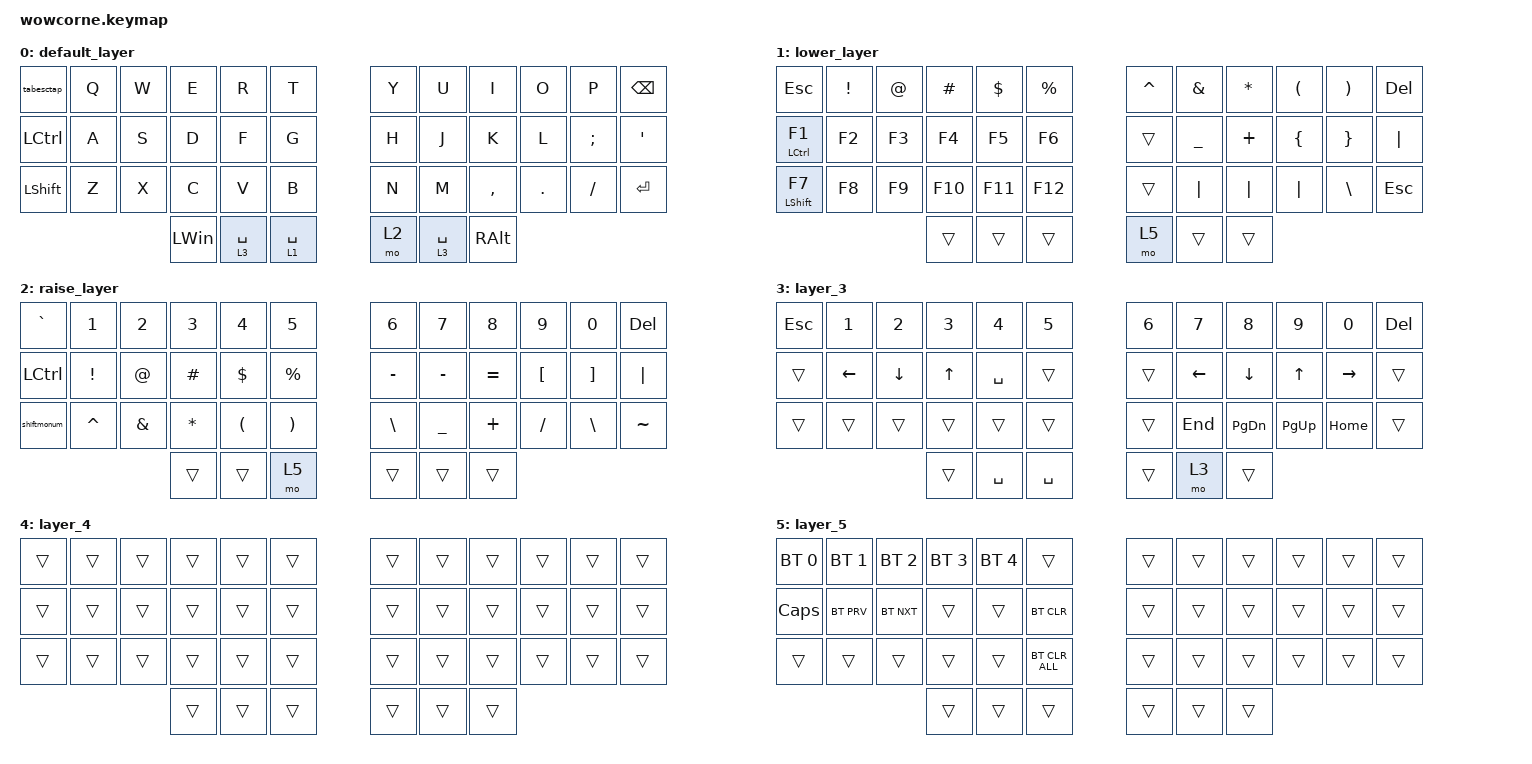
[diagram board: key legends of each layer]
/*
 * Copyright (c) 2020 The ZMK Contributors
 *
 * SPDX-License-Identifier: MIT
 */

#include <dt-bindings/zmk/mouse.h>
#include <behaviors/mouse_keys.dtsi>
#include <behaviors.dtsi>
#include <dt-bindings/zmk/bt.h>
#include <dt-bindings/zmk/keys.h>

#define WIN 0
#define MAC 1
#define NAV 2
#define SYM 3
#define FN 4
#define CFG 5
#define MSE 6

//universial keycodes

#define L_SYM &mo SYM
#define L_FN  &mo FN
#define L_CFG &mo CFG
#define L_NAV &mo NAV
#define L_MSE &mo MSE
#define TAB_C &kp LC(TAB)
#define LT_SPACE &lt MSE SPACE

// winos keycodes

#define WHF &hm LCTRL F
#define WHD &hm LALT D
#define WHJ &hm RCTRL J
#define WHK &hm RALT K
#define LANGW &mt RSHFT RALT
#define ESCW &mt LGUI ESC

// macos keycodes

#define MHF &hm LGUI F
#define MHD &hm LALT D
#define MHJ &hm RGUI J
#define MHK &hm RALT K
#define OBS &hm LA(LSFT) A
#define OBS_C &hm LC(LA(LSFT)) A
#define LANGM &mt RALT LC(SPACE)
#define ESCM &mt LCTRL ESC

&mt { tapping-term-ms = <125>; };

/ {
    behaviors {
        hm: homerow_mods {
            compatible = "zmk,behavior-hold-tap";
            #binding-cells = <2>;
            tapping-term-ms = <150>;
            quick-tap-ms = <0>;
            flavor = "tap-preferred";
            bindings = <&kp>, <&kp>;
        };
    };

    combos { compatible = "zmk,combos"; };

    behaviors {
        new_behavior: new_behavior {
            compatible = "zmk,behavior-mouse-key-press";
            label = "NEW_BEHAVIOR";
            #binding-cells = <1>;
        };

        tabesctap: tabesctap {
            compatible = "zmk,behavior-tap-dance";
            label = "TABESCTAP";
            #binding-cells = <0>;
            bindings = <&kp TAB>, <&kp ESC>;

            tapping-term-ms = <170>;
        };

        spacelayer: spacelayer {
            compatible = "zmk,behavior-hold-tap";
            label = "SPACELAYER";
            bindings = <&mo>, <&kp>;

            #binding-cells = <2>;
            tapping-term-ms = <400>;
            flavor = "tap-preferred";
        };

        shiftmonum: shiftmonum {
            compatible = "zmk,behavior-tap-dance";
            label = "SHIFTMONUM";
            #binding-cells = <0>;
            bindings = <&kp LEFT_SHIFT>, <&none>;

            tapping-term-ms = <250>;
        };
    };

    keymap {
        compatible = "zmk,keymap";

        default_layer {
            // -----------------------------------------------------------------------------------------
            // |  ESC |  Q  |  W  |  E  |  R  |  T  |   |  Y  |  U   |  I  |  O  |  P  | BSPC |
            // | TAB  |  A  |  S  |  D  |  F  |  G  |   |  H  |  J   |  K  |  L  |  ;  | ENTER|
            // | LCTRL|  Z  |  X  |  C  |  V  |  B  |   |  N  |  M   |  ,  |  .  |  /  | RSHFT|
            //                    |LCTRL| LALT| SP |   | SPACE | RSE  | RALT |

            bindings = <
&tabesctap  &kp Q  &kp W  &kp E         &kp R                &kp T          &kp Y  &kp U        &kp I          &kp O    &kp P     &kp BSPC
&kp LCTRL   &kp A  &kp S  &kp D         &kp F                &kp G          &kp H  &kp J        &kp K          &kp L    &kp SEMI  &kp SQT
&kp LSHFT   &kp Z  &kp X  &kp C         &kp V                &kp B          &kp N  &kp M        &kp COMMA      &kp DOT  &kp FSLH  &kp ENTER
                          &kp LEFT_WIN  &spacelayer 3 SPACE  &lt 1 SPACE    &mo 2  &lt 3 SPACE  &kp RIGHT_ALT
            >;
        };

        lower_layer {
            // -----------------------------------------------------------------------------------------
            // |  TAB |  1  |  2  |  3  |  4  |  5  |   |  6  |  7  |  8  |  9  |  0  | BSPC |
            // | BTCLR| BT1 | BT2 | BT3 | BT4 | BT5 |   | LFT | DWN |  UP | RGT |     |      |
            // | SHFT |     |     |     |     |     |   |     |     |     |     |     |      |
            //                    | GUI |     | SPC |   | ENT |     | ALT |

            bindings = <
&kp ESCAPE           &kp EXCLAMATION  &kp AT  &kp HASH  &kp DOLLAR  &kp PERCENT    &kp LCTRL  &kp AMPERSAND  &kp ASTERISK  &kp LEFT_PARENTHESIS  &kp RIGHT_PARENTHESIS  &kp DEL
&mt LEFT_CONTROL F1  &kp F2           &kp F3  &kp F4    &kp F5      &kp F6         &trans     &kp UNDER      &kp PLUS      &kp LEFT_BRACE        &kp RIGHT_BRACE        &kp PIPE
&mt LSHFT F7         &kp F8           &kp F9  &kp F10   &kp F11     &kp F12        &trans     &kp PIPE       &kp PIPE      &kp PIPE              &kp BACKSLASH          &kp ESCAPE
                                              &trans    &trans      &trans         &mo 5      &trans         &trans
            >;
        };

        raise_layer {
            // -----------------------------------------------------------------------------------------
            // |  TAB |  !  |  @  |  #  |  $  |  %  |   |  ^  |  &  |  *  |  (  |  )  | BSPC |
            // | CTRL |     |     |     |     |     |   |  -  |  =  |  [  |  ]  |  \  |  `   |
            // | SHFT |     |     |     |     |     |   |  _  |  +  |  {  |  }  | "|" |  ~   |
            //                    | GUI |     | SPC |   | ENT |     | ALT |

            bindings = <
&kp GRAVE    &kp NUMBER_1  &kp NUMBER_2  &kp NUMBER_3  &kp NUMBER_4          &kp N5                   &kp NUMBER_6   &kp N7     &kp N8     &kp N9            &kp N0             &kp BSPC
&kp LCTRL    &kp EXCL      &kp AT        &kp HASH      &kp DOLLAR            &kp PERCENT              &kp MINUS      &kp MINUS  &kp EQUAL  &kp LEFT_BRACKET  &kp RIGHT_BRACKET  &kp PIPE
&shiftmonum  &kp CARET     &kp AMPS      &kp ASTERISK  &kp LEFT_PARENTHESIS  &kp RIGHT_PARENTHESIS    &kp BACKSLASH  &kp UNDER  &kp PLUS   &kp SLASH         &kp BACKSLASH      &kp TILDE
                                         &trans        &trans                &mo 5                    &trans         &trans     &trans
            >;
        };

        layer_3 {
            bindings = <
&kp ESC  &kp N1    &kp N2    &kp N3  &kp N4     &kp N5       &kp N6  &kp N7    &kp N8         &kp N9     &kp N0     &kp DEL
&trans   &kp LEFT  &kp DOWN  &kp UP  &kp SPACE  &trans       &trans  &kp LEFT  &kp DOWN       &kp UP     &kp RIGHT  &trans
&trans   &trans    &trans    &trans  &trans     &trans       &trans  &kp END   &kp PAGE_DOWN  &kp PG_UP  &kp HOME   &trans
                             &trans  &kp SPACE  &kp SPACE    &trans  &mo 3     &trans
            >;
        };

        layer_4 {
            bindings = <
&trans  &trans  &trans  &trans  &trans  &trans    &trans  &trans  &trans  &trans  &trans  &trans
&trans  &trans  &trans  &trans  &trans  &trans    &trans  &trans  &trans  &trans  &trans  &trans
&trans  &trans  &trans  &trans  &trans  &trans    &trans  &trans  &trans  &trans  &trans  &trans
                        &trans  &trans  &trans    &trans  &trans  &trans
            >;
        };

        layer_5 {
            bindings = <
&bt BT_SEL 0  &bt BT_SEL 1  &bt BT_SEL 2  &bt BT_SEL 3  &bt BT_SEL 4  &trans            &trans  &trans  &trans  &trans  &trans  &trans
&kp CLCK      &bt BT_PRV    &bt BT_NXT    &trans        &trans        &bt BT_CLR        &trans  &trans  &trans  &trans  &trans  &trans
&trans        &trans        &trans        &trans        &trans        &bt BT_CLR_ALL    &trans  &trans  &trans  &trans  &trans  &trans
                                          &trans        &trans        &trans            &trans  &trans  &trans
            >;
        };
    };
};
/*
 * Copyright (c) 2020 The ZMK Contributors
 *
 * SPDX-License-Identifier: MIT
 */

#include <dt-bindings/zmk/mouse.h>
#include <behaviors/mouse_keys.dtsi>
#include <behaviors.dtsi>
#include <dt-bindings/zmk/bt.h>
#include <dt-bindings/zmk/keys.h>

#define WIN 0
#define MAC 1
#define NAV 2
#define SYM 3
#define FN 4
#define CFG 5
#define MSE 6

//universial keycodes

#define L_SYM &mo SYM
#define L_FN  &mo FN
#define L_CFG &mo CFG
#define L_NAV &mo NAV
#define L_MSE &mo MSE
#define TAB_C &kp LC(TAB)
#define LT_SPACE &lt MSE SPACE

// winos keycodes

#define WHF &hm LCTRL F
#define WHD &hm LALT D
#define WHJ &hm RCTRL J
#define WHK &hm RALT K
#define LANGW &mt RSHFT RALT
#define ESCW &mt LGUI ESC

// macos keycodes

#define MHF &hm LGUI F
#define MHD &hm LALT D
#define MHJ &hm RGUI J
#define MHK &hm RALT K
#define OBS &hm LA(LSFT) A
#define OBS_C &hm LC(LA(LSFT)) A
#define LANGM &mt RALT LC(SPACE)
#define ESCM &mt LCTRL ESC

&mt { tapping-term-ms = <125>; };

/ {
    behaviors {
        hm: homerow_mods {
            compatible = "zmk,behavior-hold-tap";
            #binding-cells = <2>;
            tapping-term-ms = <150>;
            quick-tap-ms = <0>;
            flavor = "tap-preferred";
            bindings = <&kp>, <&kp>;
        };
    };

    combos { compatible = "zmk,combos"; };

    behaviors {
        new_behavior: new_behavior {
            compatible = "zmk,behavior-mouse-key-press";
            label = "NEW_BEHAVIOR";
            #binding-cells = <1>;
        };

        tabesctap: tabesctap {
            compatible = "zmk,behavior-tap-dance";
            label = "TABESCTAP";
            #binding-cells = <0>;
            bindings = <&kp TAB>, <&kp ESC>;

            tapping-term-ms = <170>;
        };

        spacelayer: spacelayer {
            compatible = "zmk,behavior-hold-tap";
            label = "SPACELAYER";
            bindings = <&mo>, <&kp>;

            #binding-cells = <2>;
            tapping-term-ms = <400>;
            flavor = "tap-preferred";
        };

        shiftmonum: shiftmonum {
            compatible = "zmk,behavior-tap-dance";
            label = "SHIFTMONUM";
            #binding-cells = <0>;
            bindings = <&kp LEFT_SHIFT>, <&none>;

            tapping-term-ms = <250>;
        };
    };

    keymap {
        compatible = "zmk,keymap";

        default_layer {
            // -----------------------------------------------------------------------------------------
            // |  ESC |  Q  |  W  |  E  |  R  |  T  |   |  Y  |  U   |  I  |  O  |  P  | BSPC |
            // | TAB  |  A  |  S  |  D  |  F  |  G  |   |  H  |  J   |  K  |  L  |  ;  | ENTER|
            // | LCTRL|  Z  |  X  |  C  |  V  |  B  |   |  N  |  M   |  ,  |  .  |  /  | RSHFT|
            //                    |LCTRL| LALT| SP |   | SPACE | RSE  | RALT |

            bindings = <
&tabesctap  &kp Q  &kp W  &kp E         &kp R                &kp T          &kp Y  &kp U        &kp I          &kp O    &kp P     &kp BSPC
&kp LCTRL   &kp A  &kp S  &kp D         &kp F                &kp G          &kp H  &kp J        &kp K          &kp L    &kp SEMI  &kp SQT
&kp LSHFT   &kp Z  &kp X  &kp C         &kp V                &kp B          &kp N  &kp M        &kp COMMA      &kp DOT  &kp FSLH  &kp ENTER
                          &kp LEFT_WIN  &spacelayer 3 SPACE  &lt 1 SPACE    &mo 2  &lt 3 SPACE  &kp RIGHT_ALT
            >;
        };

        lower_layer {
            // -----------------------------------------------------------------------------------------
            // |  TAB |  1  |  2  |  3  |  4  |  5  |   |  6  |  7  |  8  |  9  |  0  | BSPC |
            // | BTCLR| BT1 | BT2 | BT3 | BT4 | BT5 |   | LFT | DWN |  UP | RGT |     |      |
            // | SHFT |     |     |     |     |     |   |     |     |     |     |     |      |
            //                    | GUI |     | SPC |   | ENT |     | ALT |

            bindings = <
&kp ESCAPE           &kp EXCLAMATION  &kp AT  &kp HASH  &kp DOLLAR  &kp PERCENT    &kp LCTRL  &kp AMPERSAND  &kp ASTERISK  &kp LEFT_PARENTHESIS  &kp RIGHT_PARENTHESIS  &kp DEL
&mt LEFT_CONTROL F1  &kp F2           &kp F3  &kp F4    &kp F5      &kp F6         &trans     &kp UNDER      &kp PLUS      &kp LEFT_BRACE        &kp RIGHT_BRACE        &kp PIPE
&mt LSHFT F7         &kp F8           &kp F9  &kp F10   &kp F11     &kp F12        &trans     &kp PIPE       &kp PIPE      &kp PIPE              &kp BACKSLASH          &kp ESCAPE
                                              &trans    &trans      &trans         &mo 5      &trans         &trans
            >;
        };

        raise_layer {
            // -----------------------------------------------------------------------------------------
            // |  TAB |  !  |  @  |  #  |  $  |  %  |   |  ^  |  &  |  *  |  (  |  )  | BSPC |
            // | CTRL |     |     |     |     |     |   |  -  |  =  |  [  |  ]  |  \  |  `   |
            // | SHFT |     |     |     |     |     |   |  _  |  +  |  {  |  }  | "|" |  ~   |
            //                    | GUI |     | SPC |   | ENT |     | ALT |

            bindings = <
&kp GRAVE    &kp NUMBER_1  &kp NUMBER_2  &kp NUMBER_3  &kp NUMBER_4          &kp N5                   &kp NUMBER_6   &kp N7     &kp N8     &kp N9            &kp N0             &kp BSPC
&kp LCTRL    &kp EXCL      &kp AT        &kp HASH      &kp DOLLAR            &kp PERCENT              &kp MINUS      &kp MINUS  &kp EQUAL  &kp LEFT_BRACKET  &kp RIGHT_BRACKET  &kp PIPE
&shiftmonum  &kp CARET     &kp AMPS      &kp ASTERISK  &kp LEFT_PARENTHESIS  &kp RIGHT_PARENTHESIS    &kp BACKSLASH  &kp UNDER  &kp PLUS   &kp SLASH         &kp BACKSLASH      &kp TILDE
                                         &trans        &trans                &mo 5                    &trans         &trans     &trans
            >;
        };

        layer_3 {
            bindings = <
&kp ESC  &kp N1    &kp N2    &kp N3  &kp N4     &kp N5       &kp N6  &kp N7    &kp N8         &kp N9     &kp N0     &kp DEL
&trans   &kp LEFT  &kp DOWN  &kp UP  &kp SPACE  &trans       &trans  &kp LEFT  &kp DOWN       &kp UP     &kp RIGHT  &trans
&trans   &trans    &trans    &trans  &trans     &trans       &trans  &kp END   &kp PAGE_DOWN  &kp PG_UP  &kp HOME   &trans
                             &trans  &kp SPACE  &kp SPACE    &trans  &mo 3     &trans
            >;
        };

        layer_4 {
            bindings = <
&trans  &trans  &trans  &trans  &trans  &trans    &trans  &trans  &trans  &trans  &trans  &trans
&trans  &trans  &trans  &trans  &trans  &trans    &trans  &trans  &trans  &trans  &trans  &trans
&trans  &trans  &trans  &trans  &trans  &trans    &trans  &trans  &trans  &trans  &trans  &trans
                        &trans  &trans  &trans    &trans  &trans  &trans
            >;
        };

        layer_5 {
            bindings = <
&bt BT_SEL 0  &bt BT_SEL 1  &bt BT_SEL 2  &bt BT_SEL 3  &bt BT_SEL 4  &trans            &trans  &trans  &trans  &trans  &trans  &trans
&kp CLCK      &bt BT_PRV    &bt BT_NXT    &trans        &trans        &bt BT_CLR        &trans  &trans  &trans  &trans  &trans  &trans
&trans        &trans        &trans        &trans        &trans        &bt BT_CLR_ALL    &trans  &trans  &trans  &trans  &trans  &trans
                                          &trans        &trans        &trans            &trans  &trans  &trans
            >;
        };
    };
};
/*
 * Copyright (c) 2020 The ZMK Contributors
 *
 * SPDX-License-Identifier: MIT
 */

#include <dt-bindings/zmk/mouse.h>
#include <behaviors/mouse_keys.dtsi>
#include <behaviors.dtsi>
#include <dt-bindings/zmk/bt.h>
#include <dt-bindings/zmk/keys.h>

#define WIN 0
#define MAC 1
#define NAV 2
#define SYM 3
#define FN 4
#define CFG 5
#define MSE 6

//universial keycodes

#define L_SYM &mo SYM
#define L_FN  &mo FN
#define L_CFG &mo CFG
#define L_NAV &mo NAV
#define L_MSE &mo MSE
#define TAB_C &kp LC(TAB)
#define LT_SPACE &lt MSE SPACE

// winos keycodes

#define WHF &hm LCTRL F
#define WHD &hm LALT D
#define WHJ &hm RCTRL J
#define WHK &hm RALT K
#define LANGW &mt RSHFT RALT
#define ESCW &mt LGUI ESC

// macos keycodes

#define MHF &hm LGUI F
#define MHD &hm LALT D
#define MHJ &hm RGUI J
#define MHK &hm RALT K
#define OBS &hm LA(LSFT) A
#define OBS_C &hm LC(LA(LSFT)) A
#define LANGM &mt RALT LC(SPACE)
#define ESCM &mt LCTRL ESC

&mt { tapping-term-ms = <125>; };

/ {
    behaviors {
        hm: homerow_mods {
            compatible = "zmk,behavior-hold-tap";
            #binding-cells = <2>;
            tapping-term-ms = <150>;
            quick-tap-ms = <0>;
            flavor = "tap-preferred";
            bindings = <&kp>, <&kp>;
        };
    };

    combos { compatible = "zmk,combos"; };

    behaviors {
        new_behavior: new_behavior {
            compatible = "zmk,behavior-mouse-key-press";
            label = "NEW_BEHAVIOR";
            #binding-cells = <1>;
        };

        tabesctap: tabesctap {
            compatible = "zmk,behavior-tap-dance";
            label = "TABESCTAP";
            #binding-cells = <0>;
            bindings = <&kp TAB>, <&kp ESC>;

            tapping-term-ms = <170>;
        };

        spacelayer: spacelayer {
            compatible = "zmk,behavior-hold-tap";
            label = "SPACELAYER";
            bindings = <&mo>, <&kp>;

            #binding-cells = <2>;
            tapping-term-ms = <400>;
            flavor = "tap-preferred";
        };

        shiftmonum: shiftmonum {
            compatible = "zmk,behavior-tap-dance";
            label = "SHIFTMONUM";
            #binding-cells = <0>;
            bindings = <&kp LEFT_SHIFT>, <&none>;

            tapping-term-ms = <250>;
        };
    };

    keymap {
        compatible = "zmk,keymap";

        default_layer {
            // -----------------------------------------------------------------------------------------
            // |  ESC |  Q  |  W  |  E  |  R  |  T  |   |  Y  |  U   |  I  |  O  |  P  | BSPC |
            // | TAB  |  A  |  S  |  D  |  F  |  G  |   |  H  |  J   |  K  |  L  |  ;  | ENTER|
            // | LCTRL|  Z  |  X  |  C  |  V  |  B  |   |  N  |  M   |  ,  |  .  |  /  | RSHFT|
            //                    |LCTRL| LALT| SP |   | SPACE | RSE  | RALT |

            bindings = <
&tabesctap  &kp Q  &kp W  &kp E         &kp R                &kp T          &kp Y  &kp U        &kp I          &kp O    &kp P     &kp BSPC
&kp LCTRL   &kp A  &kp S  &kp D         &kp F                &kp G          &kp H  &kp J        &kp K          &kp L    &kp SEMI  &kp SQT
&kp LSHFT   &kp Z  &kp X  &kp C         &kp V                &kp B          &kp N  &kp M        &kp COMMA      &kp DOT  &kp FSLH  &kp ENTER
                          &kp LEFT_WIN  &spacelayer 3 SPACE  &lt 1 SPACE    &mo 2  &lt 3 SPACE  &kp RIGHT_ALT
            >;
        };

        lower_layer {
            // -----------------------------------------------------------------------------------------
            // |  TAB |  1  |  2  |  3  |  4  |  5  |   |  6  |  7  |  8  |  9  |  0  | BSPC |
            // | BTCLR| BT1 | BT2 | BT3 | BT4 | BT5 |   | LFT | DWN |  UP | RGT |     |      |
            // | SHFT |     |     |     |     |     |   |     |     |     |     |     |      |
            //                    | GUI |     | SPC |   | ENT |     | ALT |

            bindings = <
&kp ESCAPE           &kp EXCLAMATION  &kp AT  &kp HASH  &kp DOLLAR  &kp PERCENT    &kp LCTRL  &kp AMPERSAND  &kp ASTERISK  &kp LEFT_PARENTHESIS  &kp RIGHT_PARENTHESIS  &kp DEL
&mt LEFT_CONTROL F1  &kp F2           &kp F3  &kp F4    &kp F5      &kp F6         &trans     &kp UNDER      &kp PLUS      &kp LEFT_BRACE        &kp RIGHT_BRACE        &kp PIPE
&mt LSHFT F7         &kp F8           &kp F9  &kp F10   &kp F11     &kp F12        &trans     &kp PIPE       &kp PIPE      &kp PIPE              &kp BACKSLASH          &kp ESCAPE
                                              &trans    &trans      &trans         &mo 5      &trans         &trans
            >;
        };

        raise_layer {
            // -----------------------------------------------------------------------------------------
            // |  TAB |  !  |  @  |  #  |  $  |  %  |   |  ^  |  &  |  *  |  (  |  )  | BSPC |
            // | CTRL |     |     |     |     |     |   |  -  |  =  |  [  |  ]  |  \  |  `   |
            // | SHFT |     |     |     |     |     |   |  _  |  +  |  {  |  }  | "|" |  ~   |
            //                    | GUI |     | SPC |   | ENT |     | ALT |

            bindings = <
&kp GRAVE    &kp NUMBER_1  &kp NUMBER_2  &kp NUMBER_3  &kp NUMBER_4          &kp N5                   &kp NUMBER_6   &kp N7     &kp N8     &kp N9            &kp N0             &kp BSPC
&kp LCTRL    &kp EXCL      &kp AT        &kp HASH      &kp DOLLAR            &kp PERCENT              &kp MINUS      &kp MINUS  &kp EQUAL  &kp LEFT_BRACKET  &kp RIGHT_BRACKET  &kp PIPE
&shiftmonum  &kp CARET     &kp AMPS      &kp ASTERISK  &kp LEFT_PARENTHESIS  &kp RIGHT_PARENTHESIS    &kp BACKSLASH  &kp UNDER  &kp PLUS   &kp SLASH         &kp BACKSLASH      &kp TILDE
                                         &trans        &trans                &mo 5                    &trans         &trans     &trans
            >;
        };

        layer_3 {
            bindings = <
&kp ESC  &kp N1    &kp N2    &kp N3  &kp N4     &kp N5       &kp N6  &kp N7    &kp N8         &kp N9     &kp N0     &kp DEL
&trans   &kp LEFT  &kp DOWN  &kp UP  &kp SPACE  &trans       &trans  &kp LEFT  &kp DOWN       &kp UP     &kp RIGHT  &trans
&trans   &trans    &trans    &trans  &trans     &trans       &trans  &kp END   &kp PAGE_DOWN  &kp PG_UP  &kp HOME   &trans
                             &trans  &kp SPACE  &kp SPACE    &trans  &mo 3     &trans
            >;
        };

        layer_4 {
            bindings = <
&trans  &trans  &trans  &trans  &trans  &trans    &trans  &trans  &trans  &trans  &trans  &trans
&trans  &trans  &trans  &trans  &trans  &trans    &trans  &trans  &trans  &trans  &trans  &trans
&trans  &trans  &trans  &trans  &trans  &trans    &trans  &trans  &trans  &trans  &trans  &trans
                        &trans  &trans  &trans    &trans  &trans  &trans
            >;
        };

        layer_5 {
            bindings = <
&bt BT_SEL 0  &bt BT_SEL 1  &bt BT_SEL 2  &bt BT_SEL 3  &bt BT_SEL 4  &trans            &trans  &trans  &trans  &trans  &trans  &trans
&kp CLCK      &bt BT_PRV    &bt BT_NXT    &trans        &trans        &bt BT_CLR        &trans  &trans  &trans  &trans  &trans  &trans
&trans        &trans        &trans        &trans        &trans        &bt BT_CLR_ALL    &trans  &trans  &trans  &trans  &trans  &trans
                                          &trans        &trans        &trans            &trans  &trans  &trans
            >;
        };
    };
};
/*
 * Copyright (c) 2020 The ZMK Contributors
 *
 * SPDX-License-Identifier: MIT
 */

#include <dt-bindings/zmk/mouse.h>
#include <behaviors/mouse_keys.dtsi>
#include <behaviors.dtsi>
#include <dt-bindings/zmk/bt.h>
#include <dt-bindings/zmk/keys.h>

#define WIN 0
#define MAC 1
#define NAV 2
#define SYM 3
#define FN 4
#define CFG 5
#define MSE 6

//universial keycodes

#define L_SYM &mo SYM
#define L_FN  &mo FN
#define L_CFG &mo CFG
#define L_NAV &mo NAV
#define L_MSE &mo MSE
#define TAB_C &kp LC(TAB)
#define LT_SPACE &lt MSE SPACE

// winos keycodes

#define WHF &hm LCTRL F
#define WHD &hm LALT D
#define WHJ &hm RCTRL J
#define WHK &hm RALT K
#define LANGW &mt RSHFT RALT
#define ESCW &mt LGUI ESC

// macos keycodes

#define MHF &hm LGUI F
#define MHD &hm LALT D
#define MHJ &hm RGUI J
#define MHK &hm RALT K
#define OBS &hm LA(LSFT) A
#define OBS_C &hm LC(LA(LSFT)) A
#define LANGM &mt RALT LC(SPACE)
#define ESCM &mt LCTRL ESC

&mt { tapping-term-ms = <125>; };

/ {
    behaviors {
        hm: homerow_mods {
            compatible = "zmk,behavior-hold-tap";
            #binding-cells = <2>;
            tapping-term-ms = <150>;
            quick-tap-ms = <0>;
            flavor = "tap-preferred";
            bindings = <&kp>, <&kp>;
        };
    };

    combos { compatible = "zmk,combos"; };

    behaviors {
        new_behavior: new_behavior {
            compatible = "zmk,behavior-mouse-key-press";
            label = "NEW_BEHAVIOR";
            #binding-cells = <1>;
        };

        tabesctap: tabesctap {
            compatible = "zmk,behavior-tap-dance";
            label = "TABESCTAP";
            #binding-cells = <0>;
            bindings = <&kp TAB>, <&kp ESC>;

            tapping-term-ms = <170>;
        };

        spacelayer: spacelayer {
            compatible = "zmk,behavior-hold-tap";
            label = "SPACELAYER";
            bindings = <&mo>, <&kp>;

            #binding-cells = <2>;
            tapping-term-ms = <400>;
            flavor = "tap-preferred";
        };

        shiftmonum: shiftmonum {
            compatible = "zmk,behavior-tap-dance";
            label = "SHIFTMONUM";
            #binding-cells = <0>;
            bindings = <&kp LEFT_SHIFT>, <&none>;

            tapping-term-ms = <250>;
        };
    };

    keymap {
        compatible = "zmk,keymap";

        default_layer {
            // -----------------------------------------------------------------------------------------
            // |  ESC |  Q  |  W  |  E  |  R  |  T  |   |  Y  |  U   |  I  |  O  |  P  | BSPC |
            // | TAB  |  A  |  S  |  D  |  F  |  G  |   |  H  |  J   |  K  |  L  |  ;  | ENTER|
            // | LCTRL|  Z  |  X  |  C  |  V  |  B  |   |  N  |  M   |  ,  |  .  |  /  | RSHFT|
            //                    |LCTRL| LALT| SP |   | SPACE | RSE  | RALT |

            bindings = <
&tabesctap  &kp Q  &kp W  &kp E         &kp R                &kp T          &kp Y  &kp U        &kp I          &kp O    &kp P     &kp BSPC
&kp LCTRL   &kp A  &kp S  &kp D         &kp F                &kp G          &kp H  &kp J        &kp K          &kp L    &kp SEMI  &kp SQT
&kp LSHFT   &kp Z  &kp X  &kp C         &kp V                &kp B          &kp N  &kp M        &kp COMMA      &kp DOT  &kp FSLH  &kp ENTER
                          &kp LEFT_WIN  &spacelayer 3 SPACE  &lt 1 SPACE    &mo 2  &lt 3 SPACE  &kp RIGHT_ALT
            >;
        };

        lower_layer {
            // -----------------------------------------------------------------------------------------
            // |  TAB |  1  |  2  |  3  |  4  |  5  |   |  6  |  7  |  8  |  9  |  0  | BSPC |
            // | BTCLR| BT1 | BT2 | BT3 | BT4 | BT5 |   | LFT | DWN |  UP | RGT |     |      |
            // | SHFT |     |     |     |     |     |   |     |     |     |     |     |      |
            //                    | GUI |     | SPC |   | ENT |     | ALT |

            bindings = <
&kp ESCAPE           &kp EXCLAMATION  &kp AT  &kp HASH  &kp DOLLAR  &kp PERCENT    &kp LCTRL  &kp AMPERSAND  &kp ASTERISK  &kp LEFT_PARENTHESIS  &kp RIGHT_PARENTHESIS  &kp DEL
&mt LEFT_CONTROL F1  &kp F2           &kp F3  &kp F4    &kp F5      &kp F6         &trans     &kp UNDER      &kp PLUS      &kp LEFT_BRACE        &kp RIGHT_BRACE        &kp PIPE
&mt LSHFT F7         &kp F8           &kp F9  &kp F10   &kp F11     &kp F12        &trans     &kp PIPE       &kp PIPE      &kp PIPE              &kp BACKSLASH          &kp ESCAPE
                                              &trans    &trans      &trans         &mo 5      &trans         &trans
            >;
        };

        raise_layer {
            // -----------------------------------------------------------------------------------------
            // |  TAB |  !  |  @  |  #  |  $  |  %  |   |  ^  |  &  |  *  |  (  |  )  | BSPC |
            // | CTRL |     |     |     |     |     |   |  -  |  =  |  [  |  ]  |  \  |  `   |
            // | SHFT |     |     |     |     |     |   |  _  |  +  |  {  |  }  | "|" |  ~   |
            //                    | GUI |     | SPC |   | ENT |     | ALT |

            bindings = <
&kp GRAVE    &kp NUMBER_1  &kp NUMBER_2  &kp NUMBER_3  &kp NUMBER_4          &kp N5                   &kp NUMBER_6   &kp N7     &kp N8     &kp N9            &kp N0             &kp BSPC
&kp LCTRL    &kp EXCL      &kp AT        &kp HASH      &kp DOLLAR            &kp PERCENT              &kp MINUS      &kp MINUS  &kp EQUAL  &kp LEFT_BRACKET  &kp RIGHT_BRACKET  &kp PIPE
&shiftmonum  &kp CARET     &kp AMPS      &kp ASTERISK  &kp LEFT_PARENTHESIS  &kp RIGHT_PARENTHESIS    &kp BACKSLASH  &kp UNDER  &kp PLUS   &kp SLASH         &kp BACKSLASH      &kp TILDE
                                         &trans        &trans                &mo 5                    &trans         &trans     &trans
            >;
        };

        layer_3 {
            bindings = <
&kp ESC  &kp N1    &kp N2    &kp N3  &kp N4     &kp N5       &kp N6  &kp N7    &kp N8         &kp N9     &kp N0     &kp DEL
&trans   &kp LEFT  &kp DOWN  &kp UP  &kp SPACE  &trans       &trans  &kp LEFT  &kp DOWN       &kp UP     &kp RIGHT  &trans
&trans   &trans    &trans    &trans  &trans     &trans       &trans  &kp END   &kp PAGE_DOWN  &kp PG_UP  &kp HOME   &trans
                             &trans  &kp SPACE  &kp SPACE    &trans  &mo 3     &trans
            >;
        };

        layer_4 {
            bindings = <
&trans  &trans  &trans  &trans  &trans  &trans    &trans  &trans  &trans  &trans  &trans  &trans
&trans  &trans  &trans  &trans  &trans  &trans    &trans  &trans  &trans  &trans  &trans  &trans
&trans  &trans  &trans  &trans  &trans  &trans    &trans  &trans  &trans  &trans  &trans  &trans
                        &trans  &trans  &trans    &trans  &trans  &trans
            >;
        };

        layer_5 {
            bindings = <
&bt BT_SEL 0  &bt BT_SEL 1  &bt BT_SEL 2  &bt BT_SEL 3  &bt BT_SEL 4  &trans            &trans  &trans  &trans  &trans  &trans  &trans
&kp CLCK      &bt BT_PRV    &bt BT_NXT    &trans        &trans        &bt BT_CLR        &trans  &trans  &trans  &trans  &trans  &trans
&trans        &trans        &trans        &trans        &trans        &bt BT_CLR_ALL    &trans  &trans  &trans  &trans  &trans  &trans
                                          &trans        &trans        &trans            &trans  &trans  &trans
            >;
        };
    };
};
/*
 * Copyright (c) 2020 The ZMK Contributors
 *
 * SPDX-License-Identifier: MIT
 */

#include <dt-bindings/zmk/mouse.h>
#include <behaviors/mouse_keys.dtsi>
#include <behaviors.dtsi>
#include <dt-bindings/zmk/bt.h>
#include <dt-bindings/zmk/keys.h>

#define WIN 0
#define MAC 1
#define NAV 2
#define SYM 3
#define FN 4
#define CFG 5
#define MSE 6

//universial keycodes

#define L_SYM &mo SYM
#define L_FN  &mo FN
#define L_CFG &mo CFG
#define L_NAV &mo NAV
#define L_MSE &mo MSE
#define TAB_C &kp LC(TAB)
#define LT_SPACE &lt MSE SPACE

// winos keycodes

#define WHF &hm LCTRL F
#define WHD &hm LALT D
#define WHJ &hm RCTRL J
#define WHK &hm RALT K
#define LANGW &mt RSHFT RALT
#define ESCW &mt LGUI ESC

// macos keycodes

#define MHF &hm LGUI F
#define MHD &hm LALT D
#define MHJ &hm RGUI J
#define MHK &hm RALT K
#define OBS &hm LA(LSFT) A
#define OBS_C &hm LC(LA(LSFT)) A
#define LANGM &mt RALT LC(SPACE)
#define ESCM &mt LCTRL ESC

&mt { tapping-term-ms = <125>; };

/ {
    behaviors {
        hm: homerow_mods {
            compatible = "zmk,behavior-hold-tap";
            #binding-cells = <2>;
            tapping-term-ms = <150>;
            quick-tap-ms = <0>;
            flavor = "tap-preferred";
            bindings = <&kp>, <&kp>;
        };
    };

    combos { compatible = "zmk,combos"; };

    behaviors {
        new_behavior: new_behavior {
            compatible = "zmk,behavior-mouse-key-press";
            label = "NEW_BEHAVIOR";
            #binding-cells = <1>;
        };

        tabesctap: tabesctap {
            compatible = "zmk,behavior-tap-dance";
            label = "TABESCTAP";
            #binding-cells = <0>;
            bindings = <&kp TAB>, <&kp ESC>;

            tapping-term-ms = <170>;
        };

        spacelayer: spacelayer {
            compatible = "zmk,behavior-hold-tap";
            label = "SPACELAYER";
            bindings = <&mo>, <&kp>;

            #binding-cells = <2>;
            tapping-term-ms = <400>;
            flavor = "tap-preferred";
        };

        shiftmonum: shiftmonum {
            compatible = "zmk,behavior-tap-dance";
            label = "SHIFTMONUM";
            #binding-cells = <0>;
            bindings = <&kp LEFT_SHIFT>, <&none>;

            tapping-term-ms = <250>;
        };
    };

    keymap {
        compatible = "zmk,keymap";

        default_layer {
            // -----------------------------------------------------------------------------------------
            // |  ESC |  Q  |  W  |  E  |  R  |  T  |   |  Y  |  U   |  I  |  O  |  P  | BSPC |
            // | TAB  |  A  |  S  |  D  |  F  |  G  |   |  H  |  J   |  K  |  L  |  ;  | ENTER|
            // | LCTRL|  Z  |  X  |  C  |  V  |  B  |   |  N  |  M   |  ,  |  .  |  /  | RSHFT|
            //                    |LCTRL| LALT| SP |   | SPACE | RSE  | RALT |

            bindings = <
&tabesctap  &kp Q  &kp W  &kp E         &kp R                &kp T          &kp Y  &kp U        &kp I          &kp O    &kp P     &kp BSPC
&kp LCTRL   &kp A  &kp S  &kp D         &kp F                &kp G          &kp H  &kp J        &kp K          &kp L    &kp SEMI  &kp SQT
&kp LSHFT   &kp Z  &kp X  &kp C         &kp V                &kp B          &kp N  &kp M        &kp COMMA      &kp DOT  &kp FSLH  &kp ENTER
                          &kp LEFT_WIN  &spacelayer 3 SPACE  &lt 1 SPACE    &mo 2  &lt 3 SPACE  &kp RIGHT_ALT
            >;
        };

        lower_layer {
            // -----------------------------------------------------------------------------------------
            // |  TAB |  1  |  2  |  3  |  4  |  5  |   |  6  |  7  |  8  |  9  |  0  | BSPC |
            // | BTCLR| BT1 | BT2 | BT3 | BT4 | BT5 |   | LFT | DWN |  UP | RGT |     |      |
            // | SHFT |     |     |     |     |     |   |     |     |     |     |     |      |
            //                    | GUI |     | SPC |   | ENT |     | ALT |

            bindings = <
&kp ESCAPE           &kp EXCLAMATION  &kp AT  &kp HASH  &kp DOLLAR  &kp PERCENT    &kp LCTRL  &kp AMPERSAND  &kp ASTERISK  &kp LEFT_PARENTHESIS  &kp RIGHT_PARENTHESIS  &kp DEL
&mt LEFT_CONTROL F1  &kp F2           &kp F3  &kp F4    &kp F5      &kp F6         &trans     &kp UNDER      &kp PLUS      &kp LEFT_BRACE        &kp RIGHT_BRACE        &kp PIPE
&mt LSHFT F7         &kp F8           &kp F9  &kp F10   &kp F11     &kp F12        &trans     &kp PIPE       &kp PIPE      &kp PIPE              &kp BACKSLASH          &kp ESCAPE
                                              &trans    &trans      &trans         &mo 5      &trans         &trans
            >;
        };

        raise_layer {
            // -----------------------------------------------------------------------------------------
            // |  TAB |  !  |  @  |  #  |  $  |  %  |   |  ^  |  &  |  *  |  (  |  )  | BSPC |
            // | CTRL |     |     |     |     |     |   |  -  |  =  |  [  |  ]  |  \  |  `   |
            // | SHFT |     |     |     |     |     |   |  _  |  +  |  {  |  }  | "|" |  ~   |
            //                    | GUI |     | SPC |   | ENT |     | ALT |

            bindings = <
&kp GRAVE    &kp NUMBER_1  &kp NUMBER_2  &kp NUMBER_3  &kp NUMBER_4          &kp N5                   &kp NUMBER_6   &kp N7     &kp N8     &kp N9            &kp N0             &kp BSPC
&kp LCTRL    &kp EXCL      &kp AT        &kp HASH      &kp DOLLAR            &kp PERCENT              &kp MINUS      &kp MINUS  &kp EQUAL  &kp LEFT_BRACKET  &kp RIGHT_BRACKET  &kp PIPE
&shiftmonum  &kp CARET     &kp AMPS      &kp ASTERISK  &kp LEFT_PARENTHESIS  &kp RIGHT_PARENTHESIS    &kp BACKSLASH  &kp UNDER  &kp PLUS   &kp SLASH         &kp BACKSLASH      &kp TILDE
                                         &trans        &trans                &mo 5                    &trans         &trans     &trans
            >;
        };

        layer_3 {
            bindings = <
&kp ESC  &kp N1    &kp N2    &kp N3  &kp N4     &kp N5       &kp N6  &kp N7    &kp N8         &kp N9     &kp N0     &kp DEL
&trans   &kp LEFT  &kp DOWN  &kp UP  &kp SPACE  &trans       &trans  &kp LEFT  &kp DOWN       &kp UP     &kp RIGHT  &trans
&trans   &trans    &trans    &trans  &trans     &trans       &trans  &kp END   &kp PAGE_DOWN  &kp PG_UP  &kp HOME   &trans
                             &trans  &kp SPACE  &kp SPACE    &trans  &mo 3     &trans
            >;
        };

        layer_4 {
            bindings = <
&trans  &trans  &trans  &trans  &trans  &trans    &trans  &trans  &trans  &trans  &trans  &trans
&trans  &trans  &trans  &trans  &trans  &trans    &trans  &trans  &trans  &trans  &trans  &trans
&trans  &trans  &trans  &trans  &trans  &trans    &trans  &trans  &trans  &trans  &trans  &trans
                        &trans  &trans  &trans    &trans  &trans  &trans
            >;
        };

        layer_5 {
            bindings = <
&bt BT_SEL 0  &bt BT_SEL 1  &bt BT_SEL 2  &bt BT_SEL 3  &bt BT_SEL 4  &trans            &trans  &trans  &trans  &trans  &trans  &trans
&kp CLCK      &bt BT_PRV    &bt BT_NXT    &trans        &trans        &bt BT_CLR        &trans  &trans  &trans  &trans  &trans  &trans
&trans        &trans        &trans        &trans        &trans        &bt BT_CLR_ALL    &trans  &trans  &trans  &trans  &trans  &trans
                                          &trans        &trans        &trans            &trans  &trans  &trans
            >;
        };
    };
};
/*
 * Copyright (c) 2020 The ZMK Contributors
 *
 * SPDX-License-Identifier: MIT
 */

#include <dt-bindings/zmk/mouse.h>
#include <behaviors/mouse_keys.dtsi>
#include <behaviors.dtsi>
#include <dt-bindings/zmk/bt.h>
#include <dt-bindings/zmk/keys.h>

#define WIN 0
#define MAC 1
#define NAV 2
#define SYM 3
#define FN 4
#define CFG 5
#define MSE 6

//universial keycodes

#define L_SYM &mo SYM
#define L_FN  &mo FN
#define L_CFG &mo CFG
#define L_NAV &mo NAV
#define L_MSE &mo MSE
#define TAB_C &kp LC(TAB)
#define LT_SPACE &lt MSE SPACE

// winos keycodes

#define WHF &hm LCTRL F
#define WHD &hm LALT D
#define WHJ &hm RCTRL J
#define WHK &hm RALT K
#define LANGW &mt RSHFT RALT
#define ESCW &mt LGUI ESC

// macos keycodes

#define MHF &hm LGUI F
#define MHD &hm LALT D
#define MHJ &hm RGUI J
#define MHK &hm RALT K
#define OBS &hm LA(LSFT) A
#define OBS_C &hm LC(LA(LSFT)) A
#define LANGM &mt RALT LC(SPACE)
#define ESCM &mt LCTRL ESC

&mt { tapping-term-ms = <125>; };

/ {
    behaviors {
        hm: homerow_mods {
            compatible = "zmk,behavior-hold-tap";
            #binding-cells = <2>;
            tapping-term-ms = <150>;
            quick-tap-ms = <0>;
            flavor = "tap-preferred";
            bindings = <&kp>, <&kp>;
        };
    };

    combos { compatible = "zmk,combos"; };

    behaviors {
        new_behavior: new_behavior {
            compatible = "zmk,behavior-mouse-key-press";
            label = "NEW_BEHAVIOR";
            #binding-cells = <1>;
        };

        tabesctap: tabesctap {
            compatible = "zmk,behavior-tap-dance";
            label = "TABESCTAP";
            #binding-cells = <0>;
            bindings = <&kp TAB>, <&kp ESC>;

            tapping-term-ms = <170>;
        };

        spacelayer: spacelayer {
            compatible = "zmk,behavior-hold-tap";
            label = "SPACELAYER";
            bindings = <&mo>, <&kp>;

            #binding-cells = <2>;
            tapping-term-ms = <400>;
            flavor = "tap-preferred";
        };

        shiftmonum: shiftmonum {
            compatible = "zmk,behavior-tap-dance";
            label = "SHIFTMONUM";
            #binding-cells = <0>;
            bindings = <&kp LEFT_SHIFT>, <&none>;

            tapping-term-ms = <250>;
        };
    };

    keymap {
        compatible = "zmk,keymap";

        default_layer {
            // -----------------------------------------------------------------------------------------
            // |  ESC |  Q  |  W  |  E  |  R  |  T  |   |  Y  |  U   |  I  |  O  |  P  | BSPC |
            // | TAB  |  A  |  S  |  D  |  F  |  G  |   |  H  |  J   |  K  |  L  |  ;  | ENTER|
            // | LCTRL|  Z  |  X  |  C  |  V  |  B  |   |  N  |  M   |  ,  |  .  |  /  | RSHFT|
            //                    |LCTRL| LALT| SP |   | SPACE | RSE  | RALT |

            bindings = <
&tabesctap  &kp Q  &kp W  &kp E         &kp R                &kp T          &kp Y  &kp U        &kp I          &kp O    &kp P     &kp BSPC
&kp LCTRL   &kp A  &kp S  &kp D         &kp F                &kp G          &kp H  &kp J        &kp K          &kp L    &kp SEMI  &kp SQT
&kp LSHFT   &kp Z  &kp X  &kp C         &kp V                &kp B          &kp N  &kp M        &kp COMMA      &kp DOT  &kp FSLH  &kp ENTER
                          &kp LEFT_WIN  &spacelayer 3 SPACE  &lt 1 SPACE    &mo 2  &lt 3 SPACE  &kp RIGHT_ALT
            >;
        };

        lower_layer {
            // -----------------------------------------------------------------------------------------
            // |  TAB |  1  |  2  |  3  |  4  |  5  |   |  6  |  7  |  8  |  9  |  0  | BSPC |
            // | BTCLR| BT1 | BT2 | BT3 | BT4 | BT5 |   | LFT | DWN |  UP | RGT |     |      |
            // | SHFT |     |     |     |     |     |   |     |     |     |     |     |      |
            //                    | GUI |     | SPC |   | ENT |     | ALT |

            bindings = <
&kp ESCAPE           &kp EXCLAMATION  &kp AT  &kp HASH  &kp DOLLAR  &kp PERCENT    &kp CARET  &kp AMPERSAND  &kp ASTERISK  &kp LEFT_PARENTHESIS  &kp RIGHT_PARENTHESIS  &kp DEL
&mt LEFT_CONTROL F1  &kp F2           &kp F3  &kp F4    &kp F5      &kp F6         &trans     &kp UNDER      &kp PLUS      &kp LEFT_BRACE        &kp RIGHT_BRACE        &kp PIPE
&mt LSHFT F7         &kp F8           &kp F9  &kp F10   &kp F11     &kp F12        &trans     &kp PIPE       &kp PIPE      &kp PIPE              &kp BACKSLASH          &kp ESCAPE
                                              &trans    &trans      &trans         &mo 5      &trans         &trans
            >;
        };

        raise_layer {
            // -----------------------------------------------------------------------------------------
            // |  TAB |  !  |  @  |  #  |  $  |  %  |   |  ^  |  &  |  *  |  (  |  )  | BSPC |
            // | CTRL |     |     |     |     |     |   |  -  |  =  |  [  |  ]  |  \  |  `   |
            // | SHFT |     |     |     |     |     |   |  _  |  +  |  {  |  }  | "|" |  ~   |
            //                    | GUI |     | SPC |   | ENT |     | ALT |

            bindings = <
&kp GRAVE    &kp NUMBER_1  &kp NUMBER_2  &kp NUMBER_3  &kp NUMBER_4          &kp N5                   &kp NUMBER_6   &kp N7     &kp N8     &kp N9            &kp N0             &kp DEL
&kp LCTRL    &kp EXCL      &kp AT        &kp HASH      &kp DOLLAR            &kp PERCENT              &kp MINUS      &kp MINUS  &kp EQUAL  &kp LEFT_BRACKET  &kp RIGHT_BRACKET  &kp PIPE
&shiftmonum  &kp CARET     &kp AMPS      &kp ASTERISK  &kp LEFT_PARENTHESIS  &kp RIGHT_PARENTHESIS    &kp BACKSLASH  &kp UNDER  &kp PLUS   &kp SLASH         &kp BACKSLASH      &kp TILDE
                                         &trans        &trans                &mo 5                    &trans         &trans     &trans
            >;
        };

        layer_3 {
            bindings = <
&kp ESC  &kp N1    &kp N2    &kp N3  &kp N4     &kp N5       &kp N6  &kp N7    &kp N8         &kp N9     &kp N0     &kp DEL
&trans   &kp LEFT  &kp DOWN  &kp UP  &kp SPACE  &trans       &trans  &kp LEFT  &kp DOWN       &kp UP     &kp RIGHT  &trans
&trans   &trans    &trans    &trans  &trans     &trans       &trans  &kp END   &kp PAGE_DOWN  &kp PG_UP  &kp HOME   &trans
                             &trans  &kp SPACE  &kp SPACE    &trans  &mo 3     &trans
            >;
        };

        layer_4 {
            bindings = <
&trans  &trans  &trans  &trans  &trans  &trans    &trans  &trans  &trans  &trans  &trans  &trans
&trans  &trans  &trans  &trans  &trans  &trans    &trans  &trans  &trans  &trans  &trans  &trans
&trans  &trans  &trans  &trans  &trans  &trans    &trans  &trans  &trans  &trans  &trans  &trans
                        &trans  &trans  &trans    &trans  &trans  &trans
            >;
        };

        layer_5 {
            bindings = <
&bt BT_SEL 0  &bt BT_SEL 1  &bt BT_SEL 2  &bt BT_SEL 3  &bt BT_SEL 4  &trans            &trans  &trans  &trans  &trans  &trans  &trans
&kp CLCK      &bt BT_PRV    &bt BT_NXT    &trans        &trans        &bt BT_CLR        &trans  &trans  &trans  &trans  &trans  &trans
&trans        &trans        &trans        &trans        &trans        &bt BT_CLR_ALL    &trans  &trans  &trans  &trans  &trans  &trans
                                          &trans        &trans        &trans            &trans  &trans  &trans
            >;
        };
    };
};
